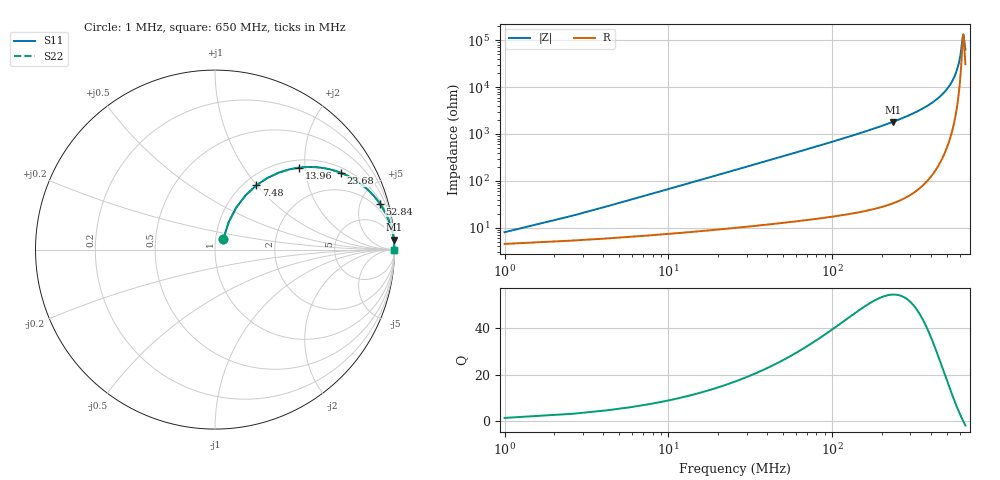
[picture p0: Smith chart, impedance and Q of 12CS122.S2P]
! Coilcraft 1206CS-122 Chip Inductor
! 29 July 2002
# MHZ S MA R 50
!Freq  MagS11  AngS11  MagS21  AngS21  MagS12  AngS12  MagS22  AngS22
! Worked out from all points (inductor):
!   402 points, 1 MHz to 650 MHz, reference 50 ohm
!   read as one part in series: L = 1.06 uH near 4.24 MHz
!   highest Q = 54.6 at 234.3 MHz (marker M1), where L = 1.23 uH
!   self-resonance near 631.2 MHz
!   S11 on the Smith chart (normalised r, x): 1 MHz: 1.09, +0.13; 7.48 MHz: 1.14, +1.00; 13.96 MHz: 1.16, +1.86; 23.68 MHz: 1.19, +3.16; 52.84 MHz: 1.26, +7.09; 650 MHz: open
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1  0.0769 52.1  0.9547 -3.6  0.9547 -3.6  0.0769 52.1
5.86  0.349 60.5  0.8822 -20.1  0.8822 -20.1  0.349 60.5
7.48  0.4266 57.2  0.8483 -25.0  0.8483 -25.0  0.4266 57.2
10.72  0.5562 50.4  0.7745 -33.6  0.7745 -33.6  0.5562 50.4
13.96  0.6545 44.3  0.7009 -40.7  0.7009 -40.7  0.6545 44.3
23.68  0.8229 31.3  0.52 -55.2  0.52 -55.2  0.8229 31.3
35.02  0.9043 22.7  0.3861 -64.6  0.3861 -64.6  0.9043 22.7
52.84  0.9534 15.6  0.2688 -72.3  0.2688 -72.3  0.9534 15.6
109.54  0.9882 7.5  0.1313 -81.1  0.1313 -81.1  0.9882 7.5
218.08  0.9971 3.5  0.06044 -85.5  0.06044 -85.5  0.9971 3.5
234.28  0.9975 3.2  0.05511 -85.8  0.05511 -85.8  0.9975 3.2
326.62  0.9987 1.9  0.03362 -86.9  0.03362 -86.9  0.9987 1.9
435.16  0.9992 1.0  0.0181 -87.0  0.0181 -87.0  0.9992 1.0
496.72  0.9993 0.7  0.01151 -86.2  0.01151 -86.2  0.9993 0.7
542.08  0.9993 0.4  0.007293 -84.4  0.007293 -84.4  0.9993 0.4
569.62  0.9993 0.3  0.004937 -81.8  0.004937 -81.8  0.9993 0.3
592.3  0.9993 0.2  0.003109 -76.7  0.003109 -76.7  0.9993 0.2
606.88  0.9993 0.1  0.002006 -68.8  0.002006 -68.8  0.9993 0.1
624.7  0.9993 0.0  0.0008953 -33.6  0.0008953 -33.6  0.9993 0.0
629.56  0.9992 0.0  0.0007629 -9.6  0.0007629 -9.6  0.9992 0.0
636.04  0.9992 -0.0  0.0008414 25.2  0.0008414 25.2  0.9992 -0.0
650  0.9992 -0.1  0.001595 60.6  0.001595 60.6  0.9992 -0.1
